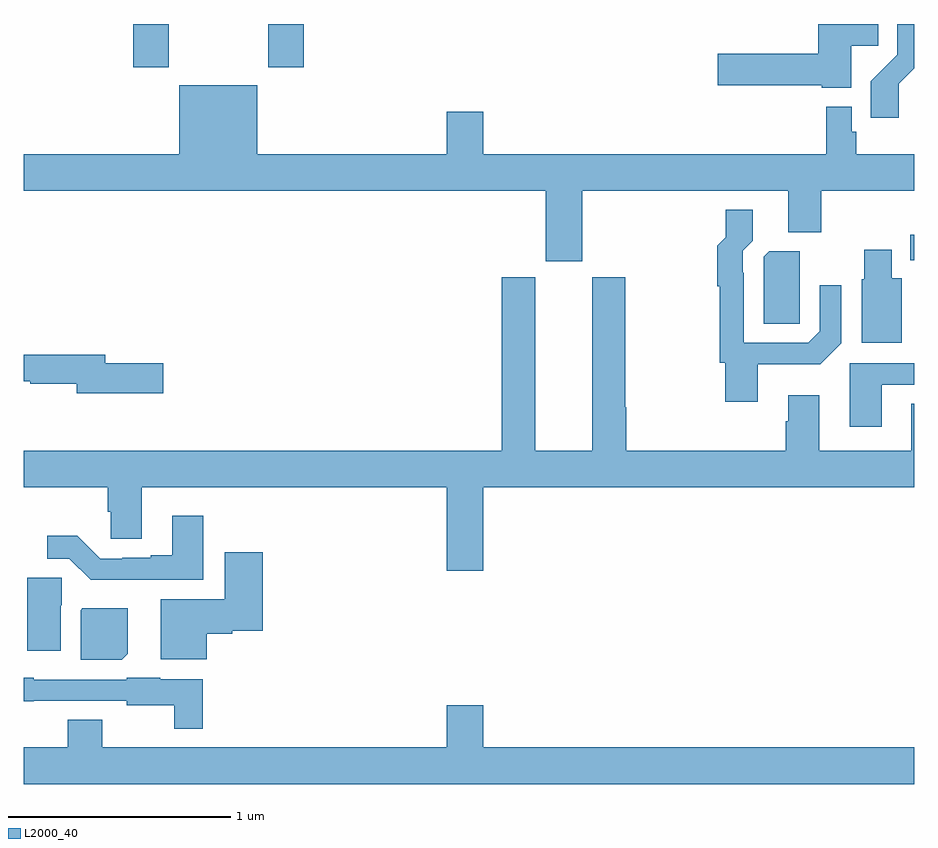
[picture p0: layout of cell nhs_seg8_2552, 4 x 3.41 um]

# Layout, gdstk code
import gdstk
lib = gdstk.Library(unit=1e-6, precision=1e-09)
def R(c, l, rs):  # rectangles x0, y0, x1, y1
    for r in rs: c.add(gdstk.rectangle(r[:2], r[2:], *l))
def P(c, l, *ps):  # polygons
    for p in ps: c.add(gdstk.Polygon(p, *l))
L2000_40 = (2000, 40)

nhs_seg8_2552 = lib.new_cell('nhs_seg8_2552')
R(nhs_seg8_2552, L2000_40, [(274.982,1130.84,275,1130.953), (271.493,1131.705,271.653,1131.9), (272.098,1131.705,272.258,1131.9)])
P(nhs_seg8_2552, L2000_40, [(274.93,1131.631),(275,1131.701),(275,1131.9),(274.923,1131.9),(274.923,1131.761),(274.804,1131.642),(274.804,1131.48),(274.93,1131.48)],
  [(274.717,1131.802),(274.838,1131.802),(274.838,1131.9),(274.568,1131.9),(274.568,1131.767),(274.116,1131.767),(274.116,1131.625),(274.584,1131.625),(274.584,1131.614),(274.717,1131.614)],
  [(273.508,1131.152),(274.433,1131.152),(274.433,1130.965),(274.581,1130.965),(274.581,1131.152),(275,1131.152),(275,1131.316),(274.739,1131.316),(274.739,1131.417),(274.719,1131.417),(274.719,1131.529),(274.603,1131.529),(274.603,1131.316),(273.064,1131.316),(273.064,1131.505),(272.9,1131.505),(272.9,1131.316),(272.05,1131.316),(272.05,1131.625),(271.7,1131.625),(271.7,1131.316),(271,1131.316),(271,1131.152),(273.344,1131.152),(273.344,1130.835),(273.508,1130.835)],
  [(274.297,1130.372),(274.577,1130.372),(274.671,1130.466),(274.671,1130.728),(274.575,1130.728),(274.575,1130.52),(274.524,1130.469),(274.233,1130.469),(274.233,1130.783),(274.23,1130.783),(274.23,1130.883),(274.273,1130.926),(274.273,1131.067),(274.153,1131.067),(274.153,1130.943),(274.115,1130.904),(274.115,1130.722),(274.125,1130.722),(274.125,1130.379),(274.15,1130.379),(274.15,1130.205),(274.297,1130.205)],
  [(274.942,1130.758),(274.897,1130.758),(274.897,1130.887),(274.775,1130.887),(274.775,1130.754),(274.763,1130.754),(274.763,1130.468),(274.942,1130.468)],
  [(274.485,1130.665),(274.486,1130.665),(274.486,1130.88),(274.347,1130.88),(274.323,1130.856),(274.323,1130.554),(274.485,1130.554)],
  [(273.064,1129.82),(275,1129.82),(275,1130.195),(274.985,1130.195),(274.985,1129.984),(274.573,1129.984),(274.573,1130.233),(274.433,1130.233),(274.433,1130.117),(274.421,1130.117),(274.421,1129.984),(273.707,1129.984),(273.707,1130.18),(273.702,1130.18),(273.702,1130.763),(273.554,1130.763),(273.554,1129.984),(273.298,1129.984),(273.298,1130.763),(273.146,1130.763),(273.146,1129.984),(271,1129.984),(271,1129.82),(271.379,1129.82),(271.379,1129.71),(271.392,1129.71),(271.392,1129.588),(271.531,1129.588),(271.531,1129.82),(272.9,1129.82),(272.9,1129.446),(273.064,1129.446)],
  [(271.627,1130.378),(271.366,1130.378),(271.366,1130.414),(271,1130.414),(271,1130.297),(271.03,1130.297),(271.03,1130.286),(271.238,1130.286),(271.238,1130.243),(271.627,1130.243)],
  [(274.852,1130.28),(275,1130.28),(275,1130.376),(274.709,1130.376),(274.709,1130.091),(274.852,1130.091)],
  [(271.807,1129.693),(271.667,1129.693),(271.667,1129.516),(271.571,1129.516),(271.571,1129.503),(271.444,1129.503),(271.444,1129.5),(271.344,1129.5),(271.242,1129.603),(271.107,1129.603),(271.107,1129.5),(271.206,1129.5),(271.301,1129.406),(271.807,1129.406)],
  [(271.822,1129.163),(271.938,1129.163),(271.938,1129.175),(272.075,1129.175),(272.075,1129.528),(271.904,1129.528),(271.904,1129.318),(271.616,1129.318),(271.616,1129.049),(271.822,1129.049)],
  [(271.168,1129.29),(271.172,1129.29),(271.172,1129.413),(271.016,1129.413),(271.016,1129.086),(271.168,1129.086)],
  [(271.468,1129.072),(271.468,1129.276),(271.264,1129.276),(271.256,1129.268),(271.256,1129.046),(271.442,1129.046)],
  [(271.805,1128.958),(271.614,1128.958),(271.614,1128.964),(271.464,1128.964),(271.464,1128.957),(271.047,1128.957),(271.047,1128.964),(271,1128.964),(271,1128.86),(271.047,1128.86),(271.047,1128.861),(271.464,1128.861),(271.464,1128.842),(271.677,1128.842),(271.677,1128.737),(271.805,1128.737)],
  [(275,1128.652),(273.064,1128.652),(273.064,1128.841),(272.9,1128.841),(272.9,1128.652),(271.353,1128.652),(271.353,1128.776),(271.198,1128.776),(271.198,1128.652),(271,1128.652),(271,1128.488),(275,1128.488)])

lib.write_gds('nhs_seg8_2552.gds')
